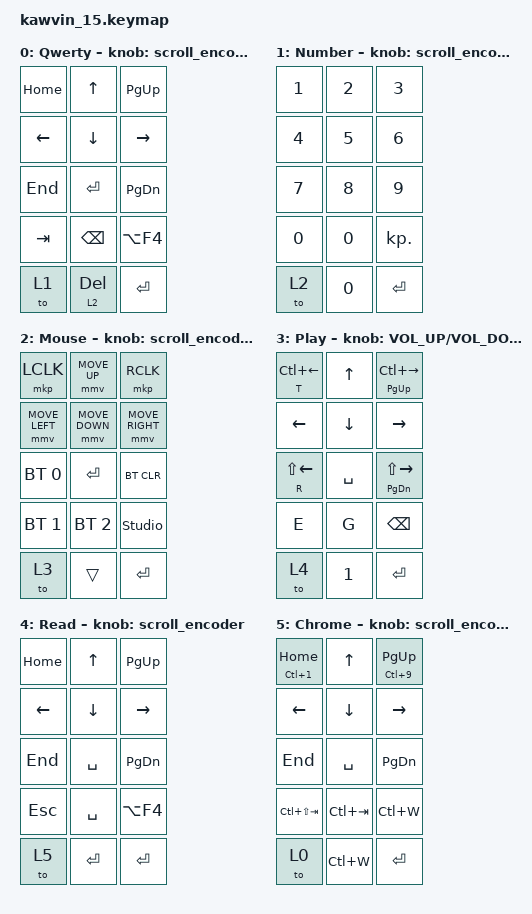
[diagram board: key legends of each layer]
/*
 * Copyright (c) 2023 The ZMK Contributors
 *
 * SPDX-License-Identifier: MIT
 */

#define ZMK_POINTING_DEFAULT_MOVE_VAL 1200 // 600
#define ZMK_POINTING_DEFAULT_SCRL_VAL 200 // 10

//#include "kawvin_15.dtsi"
#include <behaviors/mouse_move.dtsi>
#include <behaviors/mouse_keys.dtsi>
#include <behaviors.dtsi>
#include <dt-bindings/zmk/bt.h>
#include <dt-bindings/zmk/ext_power.h>
#include <dt-bindings/zmk/keys.h>
#include <dt-bindings/zmk/mouse.h>
#include <dt-bindings/zmk/outputs.h>
#include <dt-bindings/zmk/pointing.h>


&mmv_input_listener { input-processors = <&zip_xy_scaler 2 1>; };

&msc_input_listener { input-processors = <&zip_scroll_scaler 1 2>; };

&msc {
    acceleration-exponent = <1>;      // 0
    time-to-max-speed-ms = <100>;       // 300
    delay-ms = <0>;                   // 0
};

&mmv {
    time-to-max-speed-ms = <500>;
    acceleration-exponent = <1>;
    trigger-period-ms = <16>;
};

/ {
    scroll_encoder: scroll_encoder {
        compatible = "zmk,behavior-sensor-rotate";
        #sensor-binding-cells = <0>;
        bindings = <&msc SCRL_DOWN>, <&msc SCRL_UP>;
        tap-ms = <100>;
    };
};


/ {
    behaviors {
        hm: homerow_mods {
            compatible = "zmk,behavior-hold-tap";
            label = "HOMEROW_MODS";
            bindings = <&kp>, <&kp>;

            #binding-cells = <2>;
            tapping-term-ms = <200>;
            quick-tap-ms = <180>;
            flavor = "tap-preferred";
        };

        ltq: ltq {
            compatible = "zmk,behavior-hold-tap";
            label = "LTQ";
            bindings = <&mo>, <&kp>;

            #binding-cells = <2>;
            tapping-term-ms = <300>;
            quick-tap-ms = <180>;
            flavor = "tap-preferred";
        };
    };

    combos {
        compatible = "zmk,combos";

        // 同时按 0 + 1 → ESC

        esc_01 {
            bindings = <&kp ESC>;
            key-positions = <0 1>;
            timeout-ms = <200>;
        };

        // 同时按 1 + 2 → ESC

        esc_02 {
            bindings = <&kp ESC>;
            key-positions = <1 2>;
            timeout-ms = <200>;
        };

        // 在2、5层同时按 2 + 9 → bootloader
        flash {
            bindings = <&bootloader>;
            key-positions = <2 9>;
            timeout-ms = <200>;
            layers = <2 5>;
        };
    };

    macros {
        potplay_c5: potplay_c5 {
            compatible = "zmk,behavior-macro";
            #binding-cells = <0>;
            bindings = <&kp C &kp C &kp C &kp C &kp C>;
            label = "POTPLAY_C5";
        };

        potplay_x5: potplay_x5 {
            compatible = "zmk,behavior-macro";
            #binding-cells = <0>;
            bindings = <&kp X &kp X &kp X &kp X &kp X>;
            label = "POTPLAY_X5";
        };
    };

    keymap {
        compatible = "zmk,keymap";

        qwerty_layer {
            //  ---------------------------------------------------------------------------------
            //  |HOME |UP        |PG_UP |
            //  |LEFT |DOWN      |RIGHT |
            //  |END  |ENTER     |PG_DN |
            //  |TAB  |BSPC      |LA(F4)|
            //  |&to 1|&ltq 2 DEL|ENTER |

            bindings = <
                &kp HOME  &kp UP      &kp PG_UP   
                &kp LEFT  &kp DOWN    &kp RIGHT   
                &kp END   &kp ENTER   &kp PG_DN   
                &kp TAB   &kp BSPC    &kp LA(F4)  
                &to 1     &ltq 2 DEL  &kp ENTER   
            >;

            label = "Qwerty";
            sensor-bindings = <&scroll_encoder>;
        };

        number_layer {
            //  ---------------------------------------------------------------------------------
            //  |N1   |N2 |N3   |
            //  |N4   |N5 |N6   |
            //  |N7   |N8 |N9   |
            //  |N0   |N0 |DOT  |
            //  |&to 2|N0 |ENTER|


            bindings = <
                &kp N1  &kp N2  &kp N3      
                &kp N4  &kp N5  &kp N6      
                &kp N7  &kp N8  &kp N9      
                &kp N0  &kp N0  &kp KP_DOT  
                &to 2   &kp N0  &kp ENTER   
            >;

            label = "Number";
            sensor-bindings = <&scroll_encoder>;
        };

        mouse_layer {
            //  ---------------------------------------------------------------------------------
            //  |&mkp LCLK     |&mmv MOVE_UP  |&mkp RCLK      |
            //  |&mmv MOVE_LEFT|&mmv MOVE_DOWN|&mmv MOVE_RIGHT|
            //  |BT_SEL 0      |ENTER         |BT_CLR         |
            //  |BT_SEL 1      |BT_SEL 2      |&studio_unlock |
            //  |&to 3         |              |ENTER          |


            bindings = <
                &mkp LCLK       &mmv MOVE_UP    &mkp RCLK        
                &mmv MOVE_LEFT  &mmv MOVE_DOWN  &mmv MOVE_RIGHT  
                &bt BT_SEL 0    &kp ENTER       &bt BT_CLR       
                &bt BT_SEL 1    &bt BT_SEL 2    &studio_unlock   
                &to 3           &trans          &kp ENTER        

            >;

            label = "Mouse";
            sensor-bindings = <&scroll_encoder>;
        };

        play_layer {
            //  ---------------------------------------------------------------------------------
            //  |&mt T LC(LEFT)|UP    |&mt PG_UP LC(RIGHT)|
            //  |LEFT          |DOWN  |RIGHT              |
            //  |&mt R LS(LEFT)|SPACE |&mt PG_DN LS(RIGHT)|
            //  |E             |G     |BACKSPACE      |
            //  |&to 4         |N1    |ENTER              |


            bindings = <
                &mt T LC(LEFT)  &kp UP     &mt PG_UP LC(RIGHT)  
                &kp LEFT        &kp DOWN   &kp RIGHT            
                &mt R LS(LEFT)  &kp SPACE  &mt PG_DN LS(RIGHT)  
                &kp E           &kp G      &kp BACKSPACE        
                &to 4           &kp N1     &kp ENTER            

            >;

            label = "Play";
            sensor-bindings = <&inc_dec_kp K_VOLUME_UP K_VOLUME_DOWN>;
        };

        read_layer {
            //  ---------------------------------------------------------------------------------
            //  |HOME |UP   |PG_UP |
            //  |LEFT |DOWN |RIGHT |
            //  |END  |SPACE|PG_DN |
            //  |ESC  |SPACE|LA(F4)|
            //  |&to 5|ENTER|ENTER |



            bindings = <
                &kp HOME  &kp UP     &kp PG_UP   
                &kp LEFT  &kp DOWN   &kp RIGHT   
                &kp END   &kp SPACE  &kp PG_DN   
                &kp ESC   &kp SPACE  &kp LA(F4)  
                &to 5     &kp ENTER  &kp ENTER   

            >;

            label = "Read";
            sensor-bindings = <&scroll_encoder>;
        };

        chrome_layer {
            //  ---------------------------------------------------------------------------------
            //  |&mt LC(N1) HOME|UP     |&mt LC(N9) PG_UP|
            //  |LEFT           |DOWN   |RIGHT           |
            //  |END            |SPACE  |PG_DN           |
            //  |LC(LS(TAB))    |LC(TAB)|LC(W)           |
            //  |&to 0          |LC(W)  |ENTER           |


            bindings = <
                &mt LC(N1) HOME  &kp UP       &mt LC(N9) PG_UP  
                &kp LEFT         &kp DOWN     &kp RIGHT         
                &kp END          &kp SPACE    &kp PG_DN         
                &kp LC(LS(TAB))  &kp LC(TAB)  &kp LC(W)         
                &to 0            &kp LC(W)    &kp ENTER         

             >;

            label = "Chrome";
            sensor-bindings = <&scroll_encoder>;
        };
    };
};
